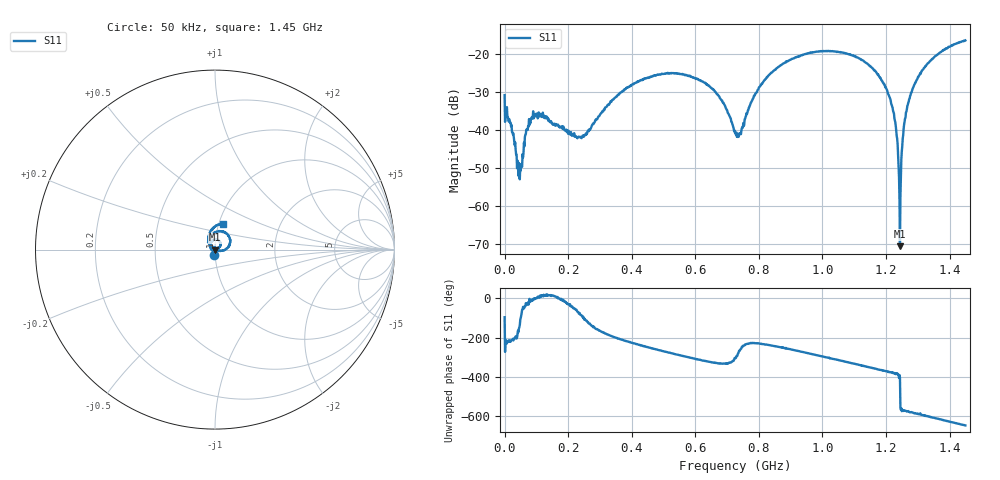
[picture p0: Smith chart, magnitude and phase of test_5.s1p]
! Created with skrf 1.11.0 (http://scikit-rf.org).
# Hz S RI R 50.0
!freq ReS11 ImS11
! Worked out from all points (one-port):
!   1001 points, 50 kHz to 1.45 GHz, reference 50 ohm
!   lowest |S11| = -70.6 dB at 1.244 GHz (marker M1), VSWR 1.00, Z = 50 - j0.0198 ohm
!   |S11| at or under -10 dB: start of sweep to end of sweep
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50000  -0.00304 -0.0288
4.64484e7  -0.00199 -0.00128
5.369815e7  0.000855 -0.00328
7.109755e7  0.00878 -0.00551
8.99469e7  0.0177 -0.00165
1.812938e8  0.0104 -0.00202
2.494414e8  -0.00115 -0.0081
3.625375e8  -0.027 0.0143
5.437812e8  0.0165 0.0539
6.568774e8  0.0286 0.0183
7.25025e8  0.00502 0.00771
7.409744e8  -0.00109 0.00882
7.81573e8  -0.0177 0.0191
8.207217e8  -0.0264 0.0392
9.062688e8  -0.0117 0.0868
1.087512e9  0.0858 0.0517
1.16001e9  0.064 0.00438
1.202059e9  0.0339 -0.0071
1.226708e9  0.013 -0.00564
1.233957e9  0.00753 -0.00351
1.238307e9  0.00423 -0.00207
1.244107e9  0.000217 -0.000198
1.249907e9  -0.00429 0.00301
1.257157e9  -0.0102 0.00605
1.268756e9  -0.0176 0.0125
1.293405e9  -0.0291 0.0309
1.331104e9  -0.0378 0.0658
1.45e9  0.0471 0.1451
